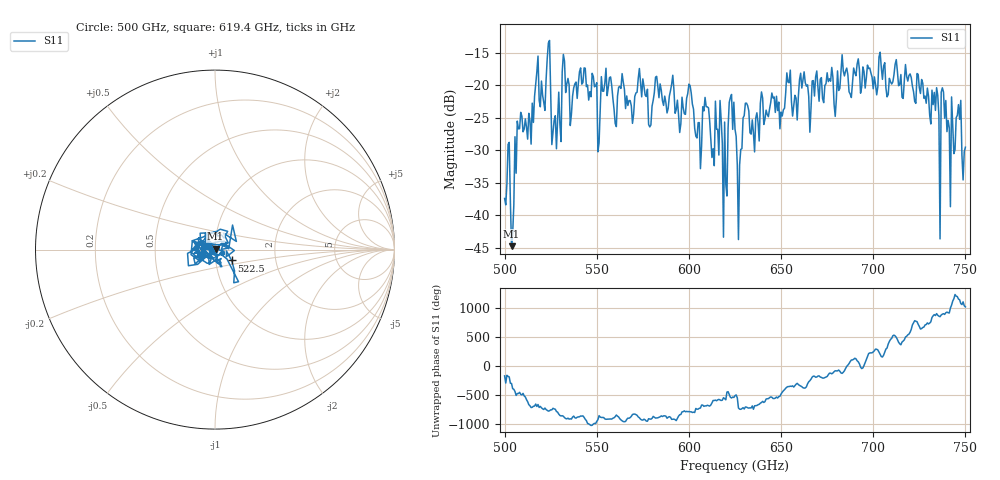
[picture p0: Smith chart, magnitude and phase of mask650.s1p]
!Created with skrf (http://scikit-rf.org).
# GHz S MA R 50.0
!freq magS11 angS11
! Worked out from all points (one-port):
!   401 points, 500 GHz to 750 GHz, reference 50 ohm
!   lowest |S11| = -44.7 dB at 503.8 GHz (marker M1), VSWR 1.01, Z = 50.3 + j0.499 ohm
!   |S11| at or under -10 dB: start of sweep to end of sweep
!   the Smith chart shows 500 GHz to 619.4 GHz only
!   S11 on the Smith chart (normalised r, x): 500 GHz: 0.97, -0.00; 522.5 GHz: 1.19, -0.15; 619.4 GHz: 0.91, +0.04
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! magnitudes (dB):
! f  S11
! 500 GHz  -37.4
! 503.8 GHz  -44.7
! 508.1 GHz  -26.6
! 522.5 GHz  -19.1
! 523.8 GHz  -13.5
! 526.9 GHz  -25.3
! 531.2 GHz  -17.9
! 562.5 GHz  -20.1
! 593.8 GHz  -22.3
! 600.6 GHz  -20.0
! 605.6 GHz  -25.7
! 609.4 GHz  -23.3
! 612.5 GHz  -31.1
! 616.9 GHz  -22.3
! 619.4 GHz  -25.6
! 623.1 GHz  -21.4
! 625 GHz  -26.7
! 627.5 GHz  -32.2
! 630.6 GHz  -22.7
! 656.2 GHz  -24.7
! 687.5 GHz  -21.3
! 718.8 GHz  -19.3
! 733.8 GHz  -23.8
! 735 GHz  -21.5
! 738.1 GHz  -21.0
! 743.1 GHz  -26.3
! 746.2 GHz  -23.0
! 750 GHz  -29.5
